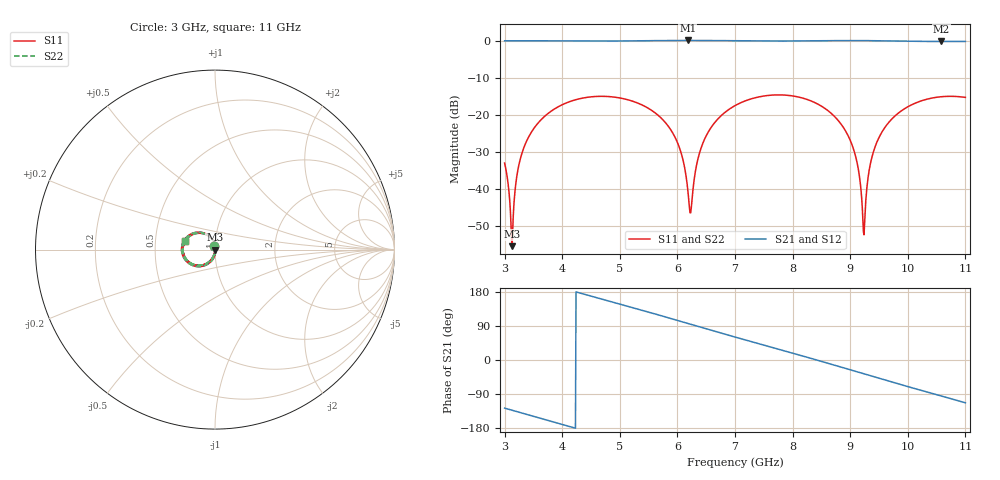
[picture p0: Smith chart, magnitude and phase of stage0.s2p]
! Stage 0 CPW 2-Port Calibration - openEMS
# GHz S DB R 50
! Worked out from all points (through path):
!   801 points, 3 GHz to 11 GHz, reference 50 ohm
!   highest |S21| = 0.09 dB at 6.18 GHz (marker M1); lowest = -0.2 dB at 10.58 GHz (marker M2)
!   group delay of S21, straight-line fit = 120 ps
!   lowest |S11| = -55.4 dB at 3.13 GHz (marker M3), VSWR 1.00, Z = 49.8 - j0.0402 ohm
!   |S11| at or under -10 dB: start of sweep to end of sweep
!   |S22| runs from -55.4 to -14.6 dB; largest |S21 - S12| = 0
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3  -32.98 99.9  0.00 -127.0  0.00 -127.0  -32.98 99.9
3.13  -55.38 -166.3  0.01 -132.6  0.01 -132.6  -55.38 -166.3
3.25  -33.32 -102.3  0.01 -137.8  0.01 -137.8  -33.32 -102.3
3.44  -25.29 -110.1  0.00 -146.1  0.00 -146.1  -25.29 -110.1
3.81  -18.96 -130.3  -0.02 -162.1  -0.02 -162.1  -18.96 -130.3
4.34  -15.50 -160.8  -0.08 175.4  -0.08 175.4  -15.50 -160.8
5.07  -15.64 157.2  -0.05 144.8  -0.05 144.8  -15.64 157.2
5.67  -20.16 121.5  0.04 119.0  0.04 119.0  -20.16 121.5
6.01  -27.80 97.3  0.08 104.1  0.08 104.1  -27.80 97.3
6.18  -40.17 65.0  0.09 96.6  0.09 96.6  -40.17 65.0
6.24  -45.22 -31.2  0.09 93.9  0.09 93.9  -45.22 -31.2
6.36  -31.63 -87.1  0.08 88.6  0.08 88.6  -31.63 -87.1
6.52  -25.04 -102.4  0.07 81.5  0.07 81.5  -25.04 -102.4
7  -17.49 -134.6  -0.00 60.6  -0.00 60.6  -17.49 -134.6
8.34  -16.35 142.5  -0.01 3.4  -0.01 3.4  -16.35 142.5
8.98  -26.12 100.4  0.06 -24.9  0.06 -24.9  -26.12 100.4
9.12  -32.90 88.5  0.05 -31.2  0.05 -31.2  -32.90 88.5
9.24  -52.32 -18.7  0.04 -36.6  0.04 -36.6  -52.32 -18.7
9.39  -30.65 -97.4  0.02 -43.3  0.02 -43.3  -30.65 -97.4
9.67  -22.00 -117.0  -0.03 -55.8  -0.03 -55.8  -22.00 -117.0
10.58  -15.09 -171.8  -0.19 -94.9  -0.19 -94.9  -15.09 -171.8
11  -15.27 164.0  -0.17 -113.0  -0.17 -113.0  -15.27 164.0
